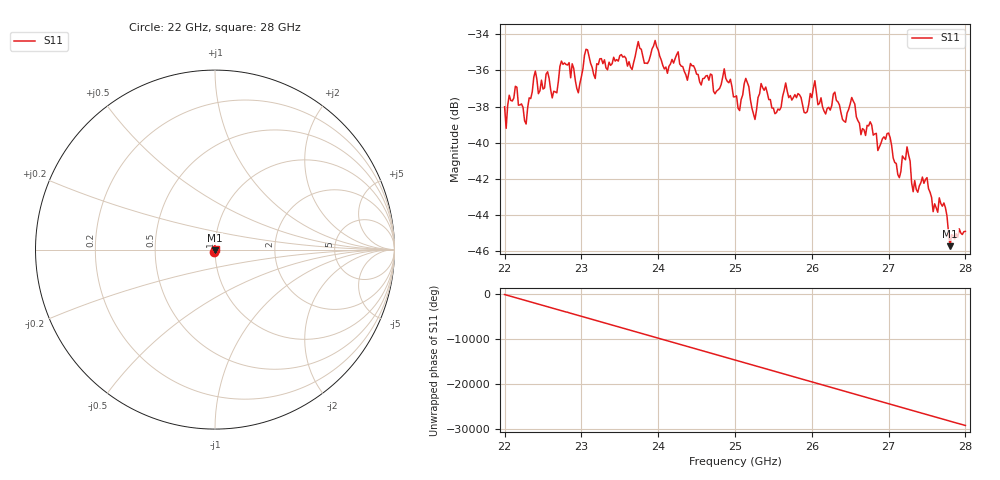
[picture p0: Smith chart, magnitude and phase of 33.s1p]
#  HZ  S  RI  R  50.00
! Rohde & Schwarz ZVA40 4Ports - Version 3.90 - 1145.1110k42 SN: 100403
! Date: 2023-10-04 06:10:41
! Measurement: S12
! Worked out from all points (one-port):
!   301 points, 22 GHz to 28 GHz, reference 50 ohm
!   lowest |S11| = -45.7 dB at 27.8 GHz (marker M1), VSWR 1.01, Z = 49.8 - j0.46 ohm
!   |S11| at or under -10 dB: start of sweep to end of sweep
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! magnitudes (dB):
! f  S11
! 22 GHz  -38.0
! 22.02 GHz  -39.2
! 22.16 GHz  -36.9
! 22.28 GHz  -39.0
! 22.4 GHz  -36.0
! 22.62 GHz  -37.5
! 22.76 GHz  -35.7
! 22.96 GHz  -37.2
! 23.06 GHz  -34.8
! 23.18 GHz  -36.4
! 23.5 GHz  -35.2
! 24.26 GHz  -35.0
! 25 GHz  -37.5
! 25.06 GHz  -38.2
! 25.14 GHz  -36.4
! 25.26 GHz  -38.7
! 25.34 GHz  -36.7
! 25.52 GHz  -38.4
! 25.76 GHz  -37.5
! 26.5 GHz  -37.8
! 26.86 GHz  -40.4
! 27 GHz  -39.5
! 27.14 GHz  -41.9
! 27.26 GHz  -40.7
! 27.32 GHz  -42.7
! 27.72 GHz  -43.3
! 27.8 GHz  -45.7
! 28 GHz  -44.9
